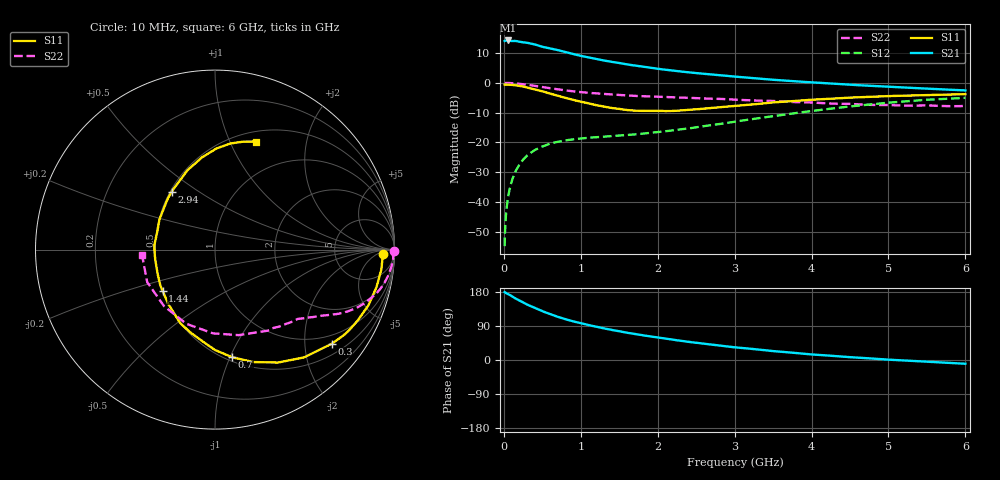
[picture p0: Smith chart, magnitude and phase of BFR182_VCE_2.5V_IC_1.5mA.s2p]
! Infineon Technologies  Discrete & RF Semiconductors
! BFR182
! VCE =  2.5 V,  IC =  1.5 mA
! Common Emitter S-Parameters:  Nov 2015
# GHz  S  MA  R  50
!  f  S11  S21  S12  S22
! GHz  MAG  ANG  MAG  ANG  MAG  ANG  MAG  ANG
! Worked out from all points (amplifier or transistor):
!   210 points, 10 MHz to 6 GHz, reference 50 ohm
!   highest |S21| = 14.2 dB at 50 MHz (marker M1)
!   |S21| within 3 dB of that: start of sweep to 659 MHz
!   unconditionally stable (mu >= 1): 1.587 GHz to 3.173 GHz
!   at 185 MHz: K = 0.15, MSG = 21.1 dB, |S12| = -28.2 dB
!   at 1.52 GHz: K = 0.97, MSG = 12.1 dB, |S12| = -17.7 dB
!   at 6 GHz: K = 0.92, MSG = 1.2 dB, |S12| = -5.0 dB
!   S11 on the Smith chart (normalised r, x): 10 MHz: 27, -10; 300 MHz: 0.76, -2.64; 700 MHz: 0.54, -1.02; 1.44 GHz: 0.50, -0.27; 2.94 GHz: 0.51, +0.39; 6 GHz: 0.61, +1.26
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0.01  0.9359 -1.4  5.038 179.2  0.0018 92.9  0.9976 -0.6
0.015  0.9353 -2.0  5.082 178.4  0.003 90.7  0.9941 -0.8
0.025  0.9343 -3.4  5.128 177.1  0.0054 88.6  0.9912 -1.4
0.05  0.9334 -6.8  5.145 174.4  0.0109 86.2  0.9944 -2.8
0.09  0.9249 -11.8  5.054 170.1  0.0195 82.6  0.9887 -5.0
0.15  0.9097 -19.9  5.059 162.4  0.0322 77.2  0.9768 -8.4
0.3  0.8356 -38.9  4.712 146.5  0.0595 68.3  0.9298 -15.4
0.4  0.7792 -50.4  4.422 137.7  0.0739 61.9  0.8887 -19.5
0.5  0.7202 -60.9  4.033 128.7  0.0849 57.0  0.849 -22.7
0.7  0.6074 -80.9  3.552 114.0  0.102 50.2  0.777 -27.4
0.86  0.533 -94.3  3.138 104.3  0.1104 46.6  0.7289 -30.0
1.02  0.476 -107.9  2.805 96.2  0.1164 44.8  0.6935 -32.2
1.2  0.4211 -122.8  2.515 87.6  0.1219 43.4  0.664 -34.5
1.44  0.3714 -141.9  2.21 78.1  0.128 44.0  0.6321 -37.1
1.7  0.3407 -163.0  1.952 68.7  0.1357 46.5  0.6021 -39.9
2.02  0.3376 174.4  1.706 58.7  0.1492 49.2  0.5837 -44.0
2.4  0.3522 151.6  1.499 47.9  0.1707 53.0  0.5606 -49.8
2.94  0.4024 126.6  1.292 35.0  0.2157 55.5  0.5264 -60.0
3.1  0.4183 121.0  1.241 31.7  0.2321 55.3  0.5144 -63.8
4.1  0.5273 96.0  0.999 13.4  0.3485 49.5  0.4579 -95.1
5.1  0.6022 80.3  0.848 -0.1  0.474 36.3  0.4179 -136.4
6  0.6442 69.1  0.745 -9.9  0.5596 21.2  0.408 -176.0
